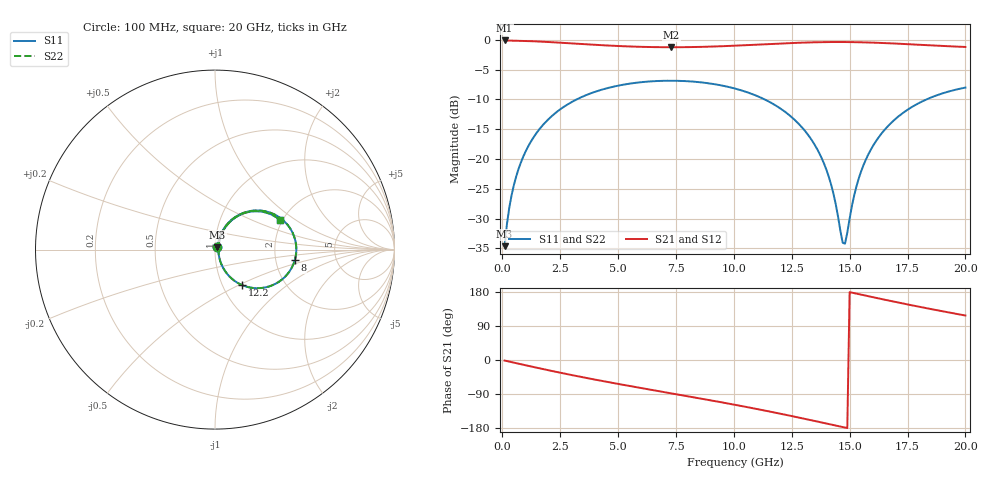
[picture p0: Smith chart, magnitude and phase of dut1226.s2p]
! Touchstone file exported from HFSS 2026.1.0
!  File:  C:/ffzhzh/LocalFiles/Ansys_Project_Files/temp_train_TSV_RDL_1226_1783321645_38820.aedt
!  Generated:  03:21:32 PM Jul  6, 2026
!  Design:  TSV_RDL
!  Project:  temp_train_TSV_RDL_1226_1783321645_38820
! Variables:
!  h_bsmrdl = 5.25um
!  h_ox = 20um
!  h_rdl = 5um
!  h_sub = 84.76um
!  h_tmrdl = 4.98um
!  h_tsv = 84.76um
!  h_via = 3um
!  l_bsmrdl = 774.65um
!  l_sub = 4023.49um
!  l_tmrdl = 284.1um
!  m_sub = 200um
!  pitch = 49.98um
!  r_tsv = 4.16um
!  s_tmrdl = 10um
!  w_bsmrdl = 29um
!  w_sub = 500um
!  w_tmrdl = 25.38um
!  x_tsv_center1 = 296.79um
!  x_tsv_center2 = 1100.44um
!  x_tsv_center3 = 1409.92um
!  x_tsv_center4 = 2213.57um
!  x_tsv_center5 = 2523.05um
!  x_tsv_center6 = 3326.7um
# GHz S MA R 50.000000
! Terminal data exported
! Port[1] = TM_RDL1_1_T1
! Port[2] = TM_RDL5_1_T1
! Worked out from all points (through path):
!   200 points, 100 MHz to 20 GHz, reference 50 ohm
!   highest |S21| = -0.12 dB at 100 MHz (marker M1); lowest = -1.3 dB at 7.3 GHz (marker M2)
!   group delay of S21, straight-line fit = 33.3 ps
!   lowest |S11| = -34.6 dB at 100 MHz (marker M3), VSWR 1.04, Z = 51.4 + j1.26 ohm
!   |S11| at or under -10 dB: start of sweep to 3.218 GHz; 11.32 GHz to 18.33 GHz (7.008 GHz wide, 47.3 % of centre)
!   |S22| runs from -34.6 to -6.9 dB; largest |S21 - S12| = 1.6e-14
!   S11 on the Smith chart (normalised r, x): 100 MHz: 1.03, +0.03; 8 GHz: 2.57, -0.37; 12.2 GHz: 1.24, -0.52; 20 GHz: 1.93, +0.76
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0.1  0.01853 41.5  0.9864 -1.5  0.9864 -1.5  0.01853 41.5
! Gamma 0 0 0 0
! Port Impedance 50 0 50 0
0.3  0.03878 63.0  0.9844 -4.2  0.9844 -4.2  0.03879 63.0
0.5  0.06029 68.0  0.9827 -7.0  0.9827 -7.0  0.06029 68.0
1.1  0.1254 67.1  0.9753 -15.2  0.9753 -15.2  0.1254 67.1
2.1  0.2253 56.6  0.9547 -28.4  0.9547 -28.4  0.2253 56.6
3.5  0.3353 40.4  0.919 -45.8  0.919 -45.8  0.3353 40.4
6.8  0.4515 5.0  0.8661 -82.7  0.8661 -82.7  0.4515 5.0
7.3  0.4532 -0.2  0.8651 -88.0  0.8651 -88.0  0.4531 -0.2
8  0.4487 -7.4  0.8669 -95.5  0.8669 -95.5  0.4487 -7.4
10.1  0.3871 -29.5  0.8925 -118.8  0.8925 -118.8  0.3871 -29.5
12.2  0.2495 -52.6  0.9334 -144.1  0.9334 -144.1  0.2494 -52.6
13.4  0.1404 -64.3  0.9513 -159.7  0.9513 -159.7  0.1403 -64.3
14.1  0.07091 -65.6  0.9564 -168.9  0.9564 -168.9  0.07085 -65.6
14.4  0.04176 -58.1  0.9572 -173.0  0.9572 -173.0  0.0417 -58.0
14.7  0.01983 -16.4  0.957 -177.0  0.957 -177.0  0.01979 -16.2
14.8  0.01943 13.1  0.9568 -178.3  0.9568 -178.3  0.01943 13.3
15.2  0.0497 62.2  0.9547 176.4  0.9547 176.4  0.04974 62.3
15.5  0.07893 66.9  0.9521 172.4  0.9521 172.4  0.07897 66.9
16  0.1277 65.8  0.946 165.8  0.946 165.8  0.1278 65.8
16.7  0.1924 59.9  0.9345 156.7  0.9345 156.7  0.1925 59.9
18.1  0.3014 45.1  0.9056 139.3  0.9056 139.3  0.3015 45.1
20  0.3967 24.8  0.8701 117.4  0.8701 117.4  0.3967 24.8
